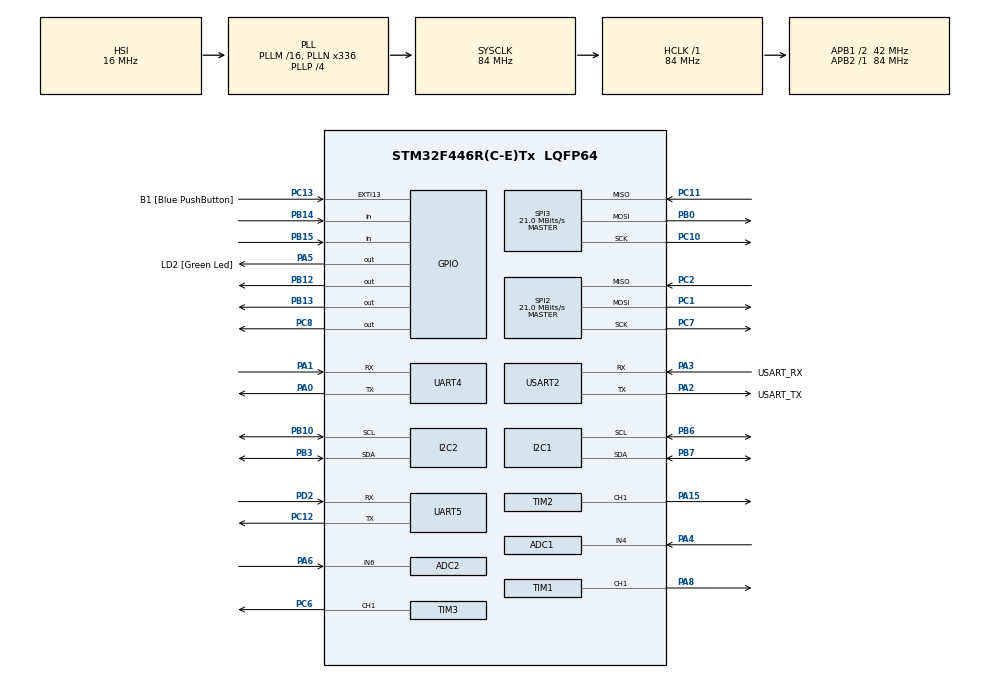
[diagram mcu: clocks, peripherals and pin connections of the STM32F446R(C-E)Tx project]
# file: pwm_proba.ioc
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ADC1.Channel-0\#ChannelRegularConversion=ADC_CHANNEL_4
ADC1.NbrOfConversionFlag=1
ADC1.Rank-0\#ChannelRegularConversion=1
ADC1.SamplingTime-0\#ChannelRegularConversion=ADC_SAMPLETIME_3CYCLES
ADC1.master=1
ADC2.Channel-10\#ChannelRegularConversion=ADC_CHANNEL_6
ADC2.NbrOfConversionFlag=1
ADC2.Rank-10\#ChannelRegularConversion=1
ADC2.SamplingTime-10\#ChannelRegularConversion=ADC_SAMPLETIME_3CYCLES
Mcu.Family=STM32F4
Mcu.Name=STM32F446R(C-E)Tx
Mcu.Package=LQFP64
NVIC.PriorityGroup=NVIC_PRIORITYGROUP_0
PA0-WKUP.Mode=Asynchronous
PA0-WKUP.Signal=UART4_TX
PA1.Mode=Asynchronous
PA1.Signal=UART4_RX
PA13.GPIO_Label=TMS
PA13.Mode=Serial_Wire
PA13.Signal=SYS_JTMS-SWDIO
PA14.GPIO_Label=TCK
PA14.Mode=Serial_Wire
PA14.Signal=SYS_JTCK-SWCLK
PA15.Signal=S_TIM2_CH1_ETR
PA2.GPIO_Label=USART_TX
PA2.Mode=Asynchronous
PA2.Signal=USART2_TX
PA3.GPIO_Label=USART_RX
PA3.Mode=Asynchronous
PA3.Signal=USART2_RX
PA4.Signal=ADCx_IN4
PA5.GPIO_Label=LD2 [Green Led]
PA5.Signal=GPIO_Output
PA6.Signal=ADCx_IN6
PA8.Signal=S_TIM1_CH1
PB0.Mode=Full_Duplex_Master
PB0.Signal=SPI3_MOSI
PB10.Mode=I2C
PB10.Signal=I2C2_SCL
PB12.Signal=GPIO_Output
PB13.Signal=GPIO_Output
PB14.Signal=GPIO_Input
PB15.Signal=GPIO_Input
PB3.Mode=I2C
PB3.Signal=I2C2_SDA
PB6.Mode=I2C
PB6.Signal=I2C1_SCL
PB7.Mode=I2C
PB7.Signal=I2C1_SDA
PC1.Mode=Full_Duplex_Master
PC1.Signal=SPI2_MOSI
PC10.Mode=Full_Duplex_Master
PC10.Signal=SPI3_SCK
PC11.Mode=Full_Duplex_Master
PC11.Signal=SPI3_MISO
PC12.Mode=Asynchronous
PC12.Signal=UART5_TX
PC13.GPIO_Label=B1 [Blue PushButton]
PC13.GPIO_ModeDefaultEXTI=GPIO_MODE_IT_FALLING
PC13.Signal=GPXTI13
PC14-OSC32_IN.Mode=LSE-External-Oscillator
PC14-OSC32_IN.Signal=RCC_OSC32_IN
PC15-OSC32_OUT.Mode=LSE-External-Oscillator
PC15-OSC32_OUT.Signal=RCC_OSC32_OUT
PC2.Mode=Full_Duplex_Master
PC2.Signal=SPI2_MISO
PC6.Signal=S_TIM3_CH1
PC7.Mode=Full_Duplex_Master
PC7.Signal=SPI2_SCK
PC8.Signal=GPIO_Output
PD2.Mode=Asynchronous
PD2.Signal=UART5_RX
PH0-OSC_IN.Mode=HSE-External-Oscillator
PH0-OSC_IN.Signal=RCC_OSC_IN
PH1-OSC_OUT.Mode=HSE-External-Oscillator
PH1-OSC_OUT.Signal=RCC_OSC_OUT
ProjectManager.HeapSize=0x200
ProjectManager.StackSize=0x400
ProjectManager.TargetToolchain=SW4STM32
RCC.48MHZClocksFreq_Value=84000000
RCC.AHBFreq_Value=84000000
RCC.APB1CLKDivider=RCC_HCLK_DIV2
RCC.APB1Freq_Value=42000000
RCC.APB1TimFreq_Value=84000000
RCC.APB2Freq_Value=84000000
RCC.APB2TimFreq_Value=84000000
RCC.CortexFreq_Value=84000000
RCC.FLatency-AdvancedSettings=FLASH_LATENCY_2
RCC.HCLKFreq_Value=84000000
RCC.HSE_VALUE=8000000
RCC.HSI_VALUE=16000000
RCC.PLLN=336
RCC.PLLP=RCC_PLLP_DIV4
RCC.SYSCLKFreq_VALUE=84000000
RCC.SYSCLKSource=RCC_SYSCLKSOURCE_PLLCLK
RCC.USBFreq_Value=168000000
RCC.VCOOutputFreq_Value=336000000
SH.ADCx_IN4.0=ADC1_IN4,IN4
SH.ADCx_IN6.0=ADC2_IN6,IN6
SH.S_TIM1_CH1.0=TIM1_CH1,PWM Generation1 CH1
SH.S_TIM2_CH1_ETR.0=TIM2_CH1,PWM Generation1 CH1
SH.S_TIM3_CH1.0=TIM3_CH1,PWM Generation1 CH1
SPI2.CalculateBaudRate=21.0 MBits/s
SPI2.Direction=SPI_DIRECTION_2LINES
SPI2.Mode=SPI_MODE_MASTER
SPI2.VirtualType=VM_MASTER
SPI3.CalculateBaudRate=21.0 MBits/s
SPI3.Direction=SPI_DIRECTION_2LINES
SPI3.Mode=SPI_MODE_MASTER
SPI3.VirtualType=VM_MASTER
TIM1.Channel-PWM\ Generation1\ CH1=TIM_CHANNEL_1
TIM1.Period=1000
TIM1.Prescaler=1680
TIM2.Channel-PWM\ Generation1\ CH1=TIM_CHANNEL_1
TIM3.Channel-PWM\ Generation1\ CH1=TIM_CHANNEL_1
UART4.VirtualMode=Asynchronous
UART5.VirtualMode=Asynchronous
USART2.VirtualMode=VM_ASYNC
VP_TIM1_VS_ClockSourceINT.Mode=Internal
VP_TIM2_VS_ClockSourceINT.Mode=Internal
VP_TIM3_VS_ClockSourceINT.Mode=Internal
board=NUCLEO-F446RE

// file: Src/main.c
/**
  ******************************************************************************
  * @file           : main.c
  * @brief          : Main program body
  ******************************************************************************
  ** This notice applies to any and all portions of this file
  * that are not between comment pairs USER CODE BEGIN and
  * USER CODE END. Other portions of this file, whether
  * inserted by the user or by software development tools
  * are owned by their respective copyright owners.
  *
  * COPYRIGHT(c) 2018 STMicroelectronics
  *
  * Redistribution and use in source and binary forms, with or without modification,
  * are permitted provided that the following conditions are met:
  *   1. Redistributions of source code must retain the above copyright notice,
  *      this list of conditions and the following disclaimer.
  *   2. Redistributions in binary form must reproduce the above copyright notice,
  *      this list of conditions and the following disclaimer in the documentation
  *      and/or other materials provided with the distribution.
  *   3. Neither the name of STMicroelectronics nor the names of its contributors
  *      may be used to endorse or promote products derived from this software
  *      without specific prior written permission.
  *
  * THIS SOFTWARE IS PROVIDED BY THE COPYRIGHT HOLDERS AND CONTRIBUTORS "AS IS"
  * AND ANY EXPRESS OR IMPLIED WARRANTIES, INCLUDING, BUT NOT LIMITED TO, THE
  * IMPLIED WARRANTIES OF MERCHANTABILITY AND FITNESS FOR A PARTICULAR PURPOSE ARE
  * DISCLAIMED. IN NO EVENT SHALL THE COPYRIGHT HOLDER OR CONTRIBUTORS BE LIABLE
  * FOR ANY DIRECT, INDIRECT, INCIDENTAL, SPECIAL, EXEMPLARY, OR CONSEQUENTIAL
  * DAMAGES (INCLUDING, BUT NOT LIMITED TO, PROCUREMENT OF SUBSTITUTE GOODS OR
  * SERVICES; LOSS OF USE, DATA, OR PROFITS; OR BUSINESS INTERRUPTION) HOWEVER
  * CAUSED AND ON ANY THEORY OF LIABILITY, WHETHER IN CONTRACT, STRICT LIABILITY,
  * OR TORT (INCLUDING NEGLIGENCE OR OTHERWISE) ARISING IN ANY WAY OUT OF THE USE
  * OF THIS SOFTWARE, EVEN IF ADVISED OF THE POSSIBILITY OF SUCH DAMAGE.
  *
  ******************************************************************************
  */
#include "main.h"
#include "stm32f4xx_hal.h"

ADC_HandleTypeDef hadc1;
ADC_HandleTypeDef hadc2;

I2C_HandleTypeDef hi2c1;
I2C_HandleTypeDef hi2c2;

SPI_HandleTypeDef hspi2;
SPI_HandleTypeDef hspi3;

TIM_HandleTypeDef htim1;
TIM_HandleTypeDef htim2;
TIM_HandleTypeDef htim3;

UART_HandleTypeDef huart4;
UART_HandleTypeDef huart5;
UART_HandleTypeDef huart2;

/* USER CODE BEGIN PV */
/* Private variables ---------------------------------------------------------*/

uint16_t duty_s, duty_m, szenzor1, szenzor2, target, pos;
float kp, ki, kd;
int error, prev_error, derivative, integral, corr;
uint16_t cmd[5] = {0}, db, tgl;
uint16_t msg[5];

/* USER CODE END PV */

void SystemClock_Config(void);
static void MX_GPIO_Init(void);
static void MX_ADC1_Init(void);
static void MX_ADC2_Init(void);
static void MX_I2C1_Init(void);
static void MX_I2C2_Init(void);
static void MX_SPI2_Init(void);
static void MX_SPI3_Init(void);
static void MX_TIM1_Init(void);
static void MX_TIM2_Init(void);
static void MX_TIM3_Init(void);
static void MX_UART4_Init(void);
static void MX_UART5_Init(void);
static void MX_USART2_UART_Init(void);

void HAL_TIM_MspPostInit(TIM_HandleTypeDef *htim);

/* USER CODE BEGIN PFP */
/* Private function prototypes -----------------------------------------------*/

void PID();
uint8_t ReadSPI();
void Steer_Control();
void Start_PWM_s();
void Start_PWM_m();
void Motor_Control();
uint16_t Vonal_spi(uint16_t,SPI_HandleTypeDef hspi, int b);

/* USER CODE END PFP */

int main(void)
{

  /* MCU Configuration----------------------------------------------------------*/

  /* Reset of all peripherals, Initializes the Flash interface and the Systick. */
  HAL_Init();

  /* Configure the system clock */
  SystemClock_Config();

  /* Initialize all configured peripherals */
  MX_GPIO_Init();
  MX_ADC1_Init();
  MX_ADC2_Init();
  MX_I2C1_Init();
  MX_I2C2_Init();
  MX_SPI2_Init();
  MX_SPI3_Init();
  MX_TIM1_Init();
  MX_TIM2_Init();
  MX_TIM3_Init();
  MX_UART4_Init();
  MX_UART5_Init();
  MX_USART2_UART_Init();
  /* USER CODE BEGIN 2 */

  HAL_GPIO_WritePin(GPIOB, GPIO_PIN_13, GPIO_PIN_SET);

  /* USER CODE END 2 */

  /* Infinite loop */
  /* USER CODE BEGIN WHILE */
/*
  target = 1550;
  prev_error = 0;
  kp = 0.01; kd = 20*kp;
  Start_PWM_s();
  Start_PWM_m();
*/

  while (1)
  {
  /* USER CODE END WHILE */

  /* USER CODE BEGIN 3 */
	  //TODO
	  //recieve data from spi
//	  HAL_Delay(66);
	  ReadSPI();
//	  PID();
//	  corr *= (float)0.16132903;
//	  Steer_Control();
//	  Motor_Control();
	  //use pdi

	  //convert outpiut form pdi to pwm for the servo
	  //rescale pwm
  }
  /* USER CODE END 3 */

}

void SystemClock_Config(void)
{

  RCC_OscInitTypeDef RCC_OscInitStruct;
  RCC_ClkInitTypeDef RCC_ClkInitStruct;

    /**Configure the main internal regulator output voltage
    */
  __HAL_RCC_PWR_CLK_ENABLE();

  __HAL_PWR_VOLTAGESCALING_CONFIG(PWR_REGULATOR_VOLTAGE_SCALE3);

    /**Initializes the CPU, AHB and APB busses clocks
    */
  RCC_OscInitStruct.OscillatorType = RCC_OSCILLATORTYPE_HSI;
  RCC_OscInitStruct.HSIState = RCC_HSI_ON;
  RCC_OscInitStruct.HSICalibrationValue = 16;
  RCC_OscInitStruct.PLL.PLLState = RCC_PLL_ON;
  RCC_OscInitStruct.PLL.PLLSource = RCC_PLLSOURCE_HSI;
  RCC_OscInitStruct.PLL.PLLM = 16;
  RCC_OscInitStruct.PLL.PLLN = 336;
  RCC_OscInitStruct.PLL.PLLP = RCC_PLLP_DIV4;
  RCC_OscInitStruct.PLL.PLLQ = 2;
  RCC_OscInitStruct.PLL.PLLR = 2;
  if (HAL_RCC_OscConfig(&RCC_OscInitStruct) != HAL_OK)
  {
    _Error_Handler(__FILE__, __LINE__);
  }

    /**Initializes the CPU, AHB and APB busses clocks
    */
  RCC_ClkInitStruct.ClockType = RCC_CLOCKTYPE_HCLK|RCC_CLOCKTYPE_SYSCLK
                              |RCC_CLOCKTYPE_PCLK1|RCC_CLOCKTYPE_PCLK2;
  RCC_ClkInitStruct.SYSCLKSource = RCC_SYSCLKSOURCE_PLLCLK;
  RCC_ClkInitStruct.AHBCLKDivider = RCC_SYSCLK_DIV1;
  RCC_ClkInitStruct.APB1CLKDivider = RCC_HCLK_DIV2;
  RCC_ClkInitStruct.APB2CLKDivider = RCC_HCLK_DIV1;

  if (HAL_RCC_ClockConfig(&RCC_ClkInitStruct, FLASH_LATENCY_2) != HAL_OK)
  {
    _Error_Handler(__FILE__, __LINE__);
  }

    /**Configure the Systick interrupt time
    */
  HAL_SYSTICK_Config(HAL_RCC_GetHCLKFreq()/1000);

    /**Configure the Systick
    */
  HAL_SYSTICK_CLKSourceConfig(SYSTICK_CLKSOURCE_HCLK);

  /* SysTick_IRQn interrupt configuration */
  HAL_NVIC_SetPriority(SysTick_IRQn, 0, 0);
}

/* ADC1 init function */
static void MX_ADC1_Init(void)
{

  ADC_ChannelConfTypeDef sConfig;

    /**Configure the global features of the ADC (Clock, Resolution, Data Alignment and number of conversion)
    */
  hadc1.Instance = ADC1;
  hadc1.Init.ClockPrescaler = ADC_CLOCK_SYNC_PCLK_DIV4;
  hadc1.Init.Resolution = ADC_RESOLUTION_12B;
  hadc1.Init.ScanConvMode = DISABLE;
  hadc1.Init.ContinuousConvMode = DISABLE;
  hadc1.Init.DiscontinuousConvMode = DISABLE;
  hadc1.Init.ExternalTrigConvEdge = ADC_EXTERNALTRIGCONVEDGE_NONE;
  hadc1.Init.ExternalTrigConv = ADC_SOFTWARE_START;
  hadc1.Init.DataAlign = ADC_DATAALIGN_RIGHT;
  hadc1.Init.NbrOfConversion = 1;
  hadc1.Init.DMAContinuousRequests = DISABLE;
  hadc1.Init.EOCSelection = ADC_EOC_SINGLE_CONV;
  if (HAL_ADC_Init(&hadc1) != HAL_OK)
  {
    _Error_Handler(__FILE__, __LINE__);
  }

    /**Configure for the selected ADC regular channel its corresponding rank in the sequencer and its sample time.
    */
  sConfig.Channel = ADC_CHANNEL_4;
  sConfig.Rank = 1;
  sConfig.SamplingTime = ADC_SAMPLETIME_3CYCLES;
  if (HAL_ADC_ConfigChannel(&hadc1, &sConfig) != HAL_OK)
  {
    _Error_Handler(__FILE__, __LINE__);
  }

}

/* ADC2 init function */
static void MX_ADC2_Init(void)
{

  ADC_ChannelConfTypeDef sConfig;

    /**Configure the global features of the ADC (Clock, Resolution, Data Alignment and number of conversion)
    */
  hadc2.Instance = ADC2;
  hadc2.Init.ClockPrescaler = ADC_CLOCK_SYNC_PCLK_DIV4;
  hadc2.Init.Resolution = ADC_RESOLUTION_12B;
  hadc2.Init.ScanConvMode = DISABLE;
  hadc2.Init.ContinuousConvMode = DISABLE;
  hadc2.Init.DiscontinuousConvMode = DISABLE;
  hadc2.Init.ExternalTrigConvEdge = ADC_EXTERNALTRIGCONVEDGE_NONE;
  hadc2.Init.ExternalTrigConv = ADC_SOFTWARE_START;
  hadc2.Init.DataAlign = ADC_DATAALIGN_RIGHT;
  hadc2.Init.NbrOfConversion = 1;
  hadc2.Init.DMAContinuousRequests = DISABLE;
  hadc2.Init.EOCSelection = ADC_EOC_SINGLE_CONV;
  if (HAL_ADC_Init(&hadc2) != HAL_OK)
  {
    _Error_Handler(__FILE__, __LINE__);
  }

    /**Configure for the selected ADC regular channel its corresponding rank in the sequencer and its sample time.
    */
  sConfig.Channel = ADC_CHANNEL_6;
  sConfig.Rank = 1;
  sConfig.SamplingTime = ADC_SAMPLETIME_3CYCLES;
  if (HAL_ADC_ConfigChannel(&hadc2, &sConfig) != HAL_OK)
  {
    _Error_Handler(__FILE__, __LINE__);
  }

}

/* I2C1 init function */
static void MX_I2C1_Init(void)
{

  hi2c1.Instance = I2C1;
  hi2c1.Init.ClockSpeed = 100000;
  hi2c1.Init.DutyCycle = I2C_DUTYCYCLE_2;
  hi2c1.Init.OwnAddress1 = 0;
  hi2c1.Init.AddressingMode = I2C_ADDRESSINGMODE_7BIT;
  hi2c1.Init.DualAddressMode = I2C_DUALADDRESS_DISABLE;
  hi2c1.Init.OwnAddress2 = 0;
  hi2c1.Init.GeneralCallMode = I2C_GENERALCALL_DISABLE;
  hi2c1.Init.NoStretchMode = I2C_NOSTRETCH_DISABLE;
  if (HAL_I2C_Init(&hi2c1) != HAL_OK)
  {
    _Error_Handler(__FILE__, __LINE__);
  }

}

/* I2C2 init function */
static void MX_I2C2_Init(void)
{

  hi2c2.Instance = I2C2;
  hi2c2.Init.ClockSpeed = 100000;
  hi2c2.Init.DutyCycle = I2C_DUTYCYCLE_2;
  hi2c2.Init.OwnAddress1 = 0;
  hi2c2.Init.AddressingMode = I2C_ADDRESSINGMODE_7BIT;
  hi2c2.Init.DualAddressMode = I2C_DUALADDRESS_DISABLE;
  hi2c2.Init.OwnAddress2 = 0;
  hi2c2.Init.GeneralCallMode = I2C_GENERALCALL_DISABLE;
  hi2c2.Init.NoStretchMode = I2C_NOSTRETCH_DISABLE;
  if (HAL_I2C_Init(&hi2c2) != HAL_OK)
  {
    _Error_Handler(__FILE__, __LINE__);
  }

}

/* SPI2 init function */
static void MX_SPI2_Init(void)
{

  /* SPI2 parameter configuration*/
  hspi2.Instance = SPI2;
  hspi2.Init.Mode = SPI_MODE_MASTER;
  hspi2.Init.Direction = SPI_DIRECTION_2LINES;
  hspi2.Init.DataSize = SPI_DATASIZE_8BIT;
  hspi2.Init.CLKPolarity = SPI_POLARITY_LOW;
  hspi2.Init.CLKPhase = SPI_PHASE_1EDGE;
  hspi2.Init.NSS = SPI_NSS_SOFT;
  hspi2.Init.BaudRatePrescaler = SPI_BAUDRATEPRESCALER_128;
  hspi2.Init.FirstBit = SPI_FIRSTBIT_MSB;
  hspi2.Init.TIMode = SPI_TIMODE_DISABLE;
  hspi2.Init.CRCCalculation = SPI_CRCCALCULATION_DISABLE;
  hspi2.Init.CRCPolynomial = 10;

  if (HAL_SPI_Init(&hspi2) != HAL_OK)
  {
    _Error_Handler(__FILE__, __LINE__);
  }

}

/* SPI3 init function */
static void MX_SPI3_Init(void)
{

  /* SPI3 parameter configuration*/
  hspi3.Instance = SPI3;
  hspi3.Init.Mode = SPI_MODE_MASTER;
  hspi3.Init.Direction = SPI_DIRECTION_2LINES;
  hspi3.Init.DataSize = SPI_DATASIZE_8BIT;
  hspi3.Init.CLKPolarity = SPI_POLARITY_LOW;
  hspi3.Init.CLKPhase = SPI_PHASE_1EDGE;
  hspi3.Init.NSS = SPI_NSS_SOFT;
  hspi3.Init.BaudRatePrescaler = SPI_BAUDRATEPRESCALER_2;
  hspi3.Init.FirstBit = SPI_FIRSTBIT_MSB;
  hspi3.Init.TIMode = SPI_TIMODE_DISABLE;
  hspi3.Init.CRCCalculation = SPI_CRCCALCULATION_DISABLE;
  hspi3.Init.CRCPolynomial = 10;
  if (HAL_SPI_Init(&hspi3) != HAL_OK)
  {
    _Error_Handler(__FILE__, __LINE__);
  }

}

/* TIM1 init function */
static void MX_TIM1_Init(void)
{

  TIM_ClockConfigTypeDef sClockSourceConfig;
  TIM_MasterConfigTypeDef sMasterConfig;
  TIM_OC_InitTypeDef sConfigOC;
  TIM_BreakDeadTimeConfigTypeDef sBreakDeadTimeConfig;

  htim1.Instance = TIM1;
  htim1.Init.Prescaler = 168;
  htim1.Init.CounterMode = TIM_COUNTERMODE_UP;
  htim1.Init.Period = 10000;
  htim1.Init.ClockDivision = TIM_CLOCKDIVISION_DIV1;
  htim1.Init.RepetitionCounter = 0;
  if (HAL_TIM_Base_Init(&htim1) != HAL_OK)
  {
    _Error_Handler(__FILE__, __LINE__);
  }

  sClockSourceConfig.ClockSource = TIM_CLOCKSOURCE_INTERNAL;
  if (HAL_TIM_ConfigClockSource(&htim1, &sClockSourceConfig) != HAL_OK)
  {
    _Error_Handler(__FILE__, __LINE__);
  }

  if (HAL_TIM_PWM_Init(&htim1) != HAL_OK)
  {
    _Error_Handler(__FILE__, __LINE__);
  }

  sMasterConfig.MasterOutputTrigger = TIM_TRGO_RESET;
  sMasterConfig.MasterSlaveMode = TIM_MASTERSLAVEMODE_DISABLE;
  if (HAL_TIMEx_MasterConfigSynchronization(&htim1, &sMasterConfig) != HAL_OK)
  {
    _Error_Handler(__FILE__, __LINE__);
  }

  sConfigOC.OCMode = TIM_OCMODE_PWM1;
  sConfigOC.Pulse = 0;
  sConfigOC.OCPolarity = TIM_OCPOLARITY_HIGH;
  sConfigOC.OCNPolarity = TIM_OCNPOLARITY_HIGH;
  sConfigOC.OCFastMode = TIM_OCFAST_DISABLE;
  sConfigOC.OCIdleState = TIM_OCIDLESTATE_RESET;
  sConfigOC.OCNIdleState = TIM_OCNIDLESTATE_RESET;
  if (HAL_TIM_PWM_ConfigChannel(&htim1, &sConfigOC, TIM_CHANNEL_1) != HAL_OK)
  {
    _Error_Handler(__FILE__, __LINE__);
  }

  sBreakDeadTimeConfig.OffStateRunMode = TIM_OSSR_DISABLE;
  sBreakDeadTimeConfig.OffStateIDLEMode = TIM_OSSI_DISABLE;
  sBreakDeadTimeConfig.LockLevel = TIM_LOCKLEVEL_OFF;
  sBreakDeadTimeConfig.DeadTime = 0;
  sBreakDeadTimeConfig.BreakState = TIM_BREAK_DISABLE;
  sBreakDeadTimeConfig.BreakPolarity = TIM_BREAKPOLARITY_HIGH;
  sBreakDeadTimeConfig.AutomaticOutput = TIM_AUTOMATICOUTPUT_DISABLE;
  if (HAL_TIMEx_ConfigBreakDeadTime(&htim1, &sBreakDeadTimeConfig) != HAL_OK)
  {
    _Error_Handler(__FILE__, __LINE__);
  }

  HAL_TIM_MspPostInit(&htim1);

}

/* TIM2 init function */
static void MX_TIM2_Init(void)
{

  TIM_ClockConfigTypeDef sClockSourceConfig;
  TIM_MasterConfigTypeDef sMasterConfig;
  TIM_OC_InitTypeDef sConfigOC;

  htim2.Instance = TIM2;
  htim2.Init.Prescaler = 168;
  htim2.Init.CounterMode = TIM_COUNTERMODE_UP;
  htim2.Init.Period = 10000;
  htim2.Init.ClockDivision = TIM_CLOCKDIVISION_DIV1;
  if (HAL_TIM_Base_Init(&htim2) != HAL_OK)
  {
    _Error_Handler(__FILE__, __LINE__);
  }

  sClockSourceConfig.ClockSource = TIM_CLOCKSOURCE_INTERNAL;
  if (HAL_TIM_ConfigClockSource(&htim2, &sClockSourceConfig) != HAL_OK)
  {
    _Error_Handler(__FILE__, __LINE__);
  }

  if (HAL_TIM_PWM_Init(&htim2) != HAL_OK)
  {
    _Error_Handler(__FILE__, __LINE__);
  }

  sMasterConfig.MasterOutputTrigger = TIM_TRGO_RESET;
  sMasterConfig.MasterSlaveMode = TIM_MASTERSLAVEMODE_DISABLE;
  if (HAL_TIMEx_MasterConfigSynchronization(&htim2, &sMasterConfig) != HAL_OK)
  {
    _Error_Handler(__FILE__, __LINE__);
  }

  sConfigOC.OCMode = TIM_OCMODE_PWM1;
  sConfigOC.Pulse = 0;
  sConfigOC.OCPolarity = TIM_OCPOLARITY_HIGH;
  sConfigOC.OCFastMode = TIM_OCFAST_DISABLE;
  if (HAL_TIM_PWM_ConfigChannel(&htim2, &sConfigOC, TIM_CHANNEL_1) != HAL_OK)
  {
    _Error_Handler(__FILE__, __LINE__);
  }

  HAL_TIM_MspPostInit(&htim2);

}

/* TIM3 init function */
static void MX_TIM3_Init(void)
{

  TIM_ClockConfigTypeDef sClockSourceConfig;
  TIM_MasterConfigTypeDef sMasterConfig;
  TIM_OC_InitTypeDef sConfigOC;

  htim3.Instance = TIM3;
  htim3.Init.Prescaler = 0;
  htim3.Init.CounterMode = TIM_COUNTERMODE_UP;
  htim3.Init.Period = 0;
  htim3.Init.ClockDivision = TIM_CLOCKDIVISION_DIV1;
  if (HAL_TIM_Base_Init(&htim3) != HAL_OK)
  {
    _Error_Handler(__FILE__, __LINE__);
  }

  sClockSourceConfig.ClockSource = TIM_CLOCKSOURCE_INTERNAL;
  if (HAL_TIM_ConfigClockSource(&htim3, &sClockSourceConfig) != HAL_OK)
  {
    _Error_Handler(__FILE__, __LINE__);
  }

  if (HAL_TIM_PWM_Init(&htim3) != HAL_OK)
  {
    _Error_Handler(__FILE__, __LINE__);
  }

  sMasterConfig.MasterOutputTrigger = TIM_TRGO_RESET;
  sMasterConfig.MasterSlaveMode = TIM_MASTERSLAVEMODE_DISABLE;
  if (HAL_TIMEx_MasterConfigSynchronization(&htim3, &sMasterConfig) != HAL_OK)
  {
    _Error_Handler(__FILE__, __LINE__);
  }

  sConfigOC.OCMode = TIM_OCMODE_PWM1;
  sConfigOC.Pulse = 0;
  sConfigOC.OCPolarity = TIM_OCPOLARITY_HIGH;
  sConfigOC.OCFastMode = TIM_OCFAST_DISABLE;
  if (HAL_TIM_PWM_ConfigChannel(&htim3, &sConfigOC, TIM_CHANNEL_1) != HAL_OK)
  {
    _Error_Handler(__FILE__, __LINE__);
  }

  HAL_TIM_MspPostInit(&htim3);

}

/* UART4 init function */
static void MX_UART4_Init(void)
{

  huart4.Instance = UART4;
  huart4.Init.BaudRate = 115200;
  huart4.Init.WordLength = UART_WORDLENGTH_8B;
  huart4.Init.StopBits = UART_STOPBITS_1;
  huart4.Init.Parity = UART_PARITY_NONE;
  huart4.Init.Mode = UART_MODE_TX_RX;
  huart4.Init.HwFlowCtl = UART_HWCONTROL_NONE;
  huart4.Init.OverSampling = UART_OVERSAMPLING_16;
  if (HAL_UART_Init(&huart4) != HAL_OK)
  {
    _Error_Handler(__FILE__, __LINE__);
  }

}

/* UART5 init function */
static void MX_UART5_Init(void)
{

  huart5.Instance = UART5;
  huart5.Init.BaudRate = 115200;
  huart5.Init.WordLength = UART_WORDLENGTH_8B;
  huart5.Init.StopBits = UART_STOPBITS_1;
  huart5.Init.Parity = UART_PARITY_NONE;
  huart5.Init.Mode = UART_MODE_TX_RX;
  huart5.Init.HwFlowCtl = UART_HWCONTROL_NONE;
  huart5.Init.OverSampling = UART_OVERSAMPLING_16;
  if (HAL_UART_Init(&huart5) != HAL_OK)
  {
    _Error_Handler(__FILE__, __LINE__);
  }

}

/* USART2 init function */
static void MX_USART2_UART_Init(void)
{

  huart2.Instance = USART2;
  huart2.Init.BaudRate = 115200;
  huart2.Init.WordLength = UART_WORDLENGTH_8B;
  huart2.Init.StopBits = UART_STOPBITS_1;
  huart2.Init.Parity = UART_PARITY_NONE;
  huart2.Init.Mode = UART_MODE_TX_RX;
  huart2.Init.HwFlowCtl = UART_HWCONTROL_NONE;
  huart2.Init.OverSampling = UART_OVERSAMPLING_16;
  if (HAL_UART_Init(&huart2) != HAL_OK)
  {
    _Error_Handler(__FILE__, __LINE__);
  }

}

/** Configure pins as
        * Analog
        * Input
        * Output
        * EVENT_OUT
        * EXTI
*/
static void MX_GPIO_Init(void)
{

  GPIO_InitTypeDef GPIO_InitStruct;

  /* GPIO Ports Clock Enable */
  __HAL_RCC_GPIOC_CLK_ENABLE();
  __HAL_RCC_GPIOH_CLK_ENABLE();
  __HAL_RCC_GPIOA_CLK_ENABLE();
  __HAL_RCC_GPIOB_CLK_ENABLE();
  __HAL_RCC_GPIOD_CLK_ENABLE();

  /*Configure GPIO pin Output Level */
  HAL_GPIO_WritePin(LD2_GPIO_Port, LD2_Pin, GPIO_PIN_RESET);

  /*Configure GPIO pin Output Level */
  HAL_GPIO_WritePin(GPIOB, GPIO_PIN_12|GPIO_PIN_13, GPIO_PIN_RESET);

  /*Configure GPIO pin Output Level */
  HAL_GPIO_WritePin(GPIOC, GPIO_PIN_8, GPIO_PIN_RESET);

  /*Configure GPIO pin : B1_Pin */
  GPIO_InitStruct.Pin = B1_Pin;
  GPIO_InitStruct.Mode = GPIO_MODE_IT_FALLING;
  GPIO_InitStruct.Pull = GPIO_NOPULL;
  HAL_GPIO_Init(B1_GPIO_Port, &GPIO_InitStruct);

  /*Configure GPIO pin : LD2_Pin */
  GPIO_InitStruct.Pin = LD2_Pin;
  GPIO_InitStruct.Mode = GPIO_MODE_OUTPUT_PP;
  GPIO_InitStruct.Pull = GPIO_NOPULL;
  GPIO_InitStruct.Speed = GPIO_SPEED_FREQ_LOW;
  HAL_GPIO_Init(LD2_GPIO_Port, &GPIO_InitStruct);

  /*Configure GPIO pins : PB12 PB13 */
  GPIO_InitStruct.Pin = GPIO_PIN_12|GPIO_PIN_13;
  GPIO_InitStruct.Mode = GPIO_MODE_OUTPUT_PP;
  GPIO_InitStruct.Pull = GPIO_NOPULL;
  GPIO_InitStruct.Speed = GPIO_SPEED_FREQ_LOW;
  HAL_GPIO_Init(GPIOB, &GPIO_InitStruct);

  /*Configure GPIO pins : PB14 PB15 */
  GPIO_InitStruct.Pin = GPIO_PIN_14|GPIO_PIN_15;
  GPIO_InitStruct.Mode = GPIO_MODE_INPUT;
  GPIO_InitStruct.Pull = GPIO_NOPULL;
  HAL_GPIO_Init(GPIOB, &GPIO_InitStruct);

  /*Configure GPIO pin : PC8 */
  GPIO_InitStruct.Pin = GPIO_PIN_8;
  GPIO_InitStruct.Mode = GPIO_MODE_OUTPUT_PP;
  GPIO_InitStruct.Pull = GPIO_NOPULL;
  GPIO_InitStruct.Speed = GPIO_SPEED_FREQ_LOW;
  HAL_GPIO_Init(GPIOC, &GPIO_InitStruct);

}

/* USER CODE BEGIN 4 */

uint16_t Calc_SPIChksum(uint16_t* buf, uint16_t len)
{
	uint16_t i;
	uint16_t chk = 0x2A;
	for (i = 0; i < len; ++i)
		chk += buf[i];

	return chk;
}

uint8_t ReadSPI()
{
	HAL_GPIO_WritePin(GPIOB, GPIO_PIN_13, GPIO_PIN_RESET);
	HAL_StatusTypeDef ret = HAL_SPI_TransmitReceive(&hspi2, cmd, msg, sizeof(cmd), 10);
	HAL_GPIO_WritePin(GPIOB, GPIO_PIN_13, GPIO_PIN_SET);

	HAL_Delay(1);

	uint16_t c = Calc_SPIChksum(msg, 4);
	if (c == msg[4])
		return 0;

	return 1;
}

void Start_PWM_s()
{
	  duty_s = 750;  //500-1, 750-1.5, 1000-2
	  HAL_TIM_PWM_Start(&htim1, TIM_CHANNEL_1);
	  htim1.Instance->CCR1 = duty_s;
	  HAL_GPIO_WritePin(GPIOA, GPIO_PIN_5, GPIO_PIN_SET);
}

void Start_PWM_m()
{
	  duty_m = 5000;  //500-1, 750-1.5, 1000-2
	  HAL_TIM_PWM_Start(&htim2, TIM_CHANNEL_1);
	  htim1.Instance->CCR1 = duty_m;
	  HAL_GPIO_WritePin(GPIOA, GPIO_PIN_5, GPIO_PIN_SET);
}

void PID()
{
	error = pos-target;
	//integral = error + integral;
	derivative = error-prev_error;

	corr= (kp*error + kd*derivative);

	prev_error = error;
}

void Steer_Control()
{
	duty_s = 750 + corr;
	htim1.Instance->CCR1 = duty_s;
}

void Motor_Control()
{
	if(db>6)
	{
		if(tgl)
		{
			//duty_m = x // gyorsitas
			tgl = 0;
		}
		else
		{
			//duty_m = y // lassítás
			tgl = 1;
		}
	}
}

/* USER CODE END 4 */

void _Error_Handler(char *file, int line)
{
  while(1)
  {
  }
}

/************************ (C) COPYRIGHT STMicroelectronics *****END OF FILE****/
